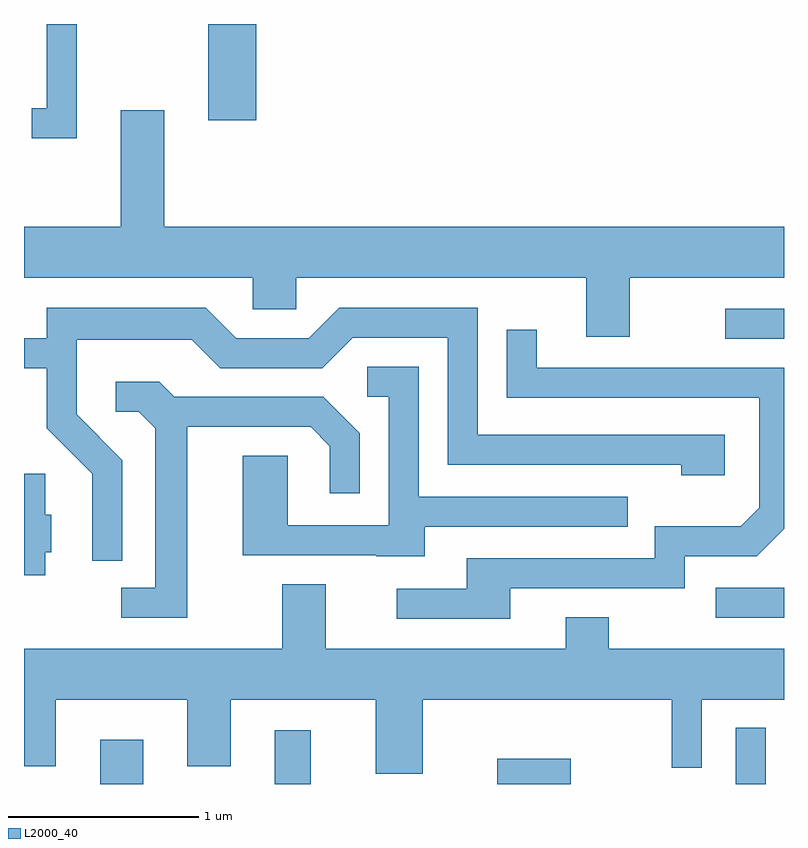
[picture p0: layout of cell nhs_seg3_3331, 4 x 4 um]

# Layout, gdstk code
import gdstk
lib = gdstk.Library(unit=1e-6, precision=1e-09)
def R(c, l, rs):  # rectangles x0, y0, x1, y1
    for r in rs: c.add(gdstk.rectangle(r[:2], r[2:], *l))
def P(c, l, *ps):  # polygons
    for p in ps: c.add(gdstk.Polygon(p, *l))
L2000_40 = (2000, 40)

nhs_seg3_3331 = lib.new_cell('nhs_seg3_3331')
R(nhs_seg3_3331, L2000_40, [(282.011,1249.892,282.239,1250.124), (282.931,1249.892,283.119,1250.174), (284.101,1249.892,284.488,1250.024), (285.356,1249.892,285.514,1250.188), (285.253,1250.766,285.611,1250.924), (285.303,1252.236,285.611,1252.394), (282.581,1253.386,282.834,1253.892)])
P(nhs_seg3_3331, L2000_40, [(281.889,1253.892),(281.731,1253.892),(281.731,1253.449),(281.653,1253.449),(281.653,1253.291),(281.889,1253.291)],
  [(284.799,1252.556),(285.611,1252.556),(285.611,1252.824),(282.349,1252.824),(282.349,1253.439),(282.121,1253.439),(282.121,1252.824),(281.611,1252.824),(281.611,1252.556),(282.816,1252.556),(282.816,1252.391),(283.044,1252.391),(283.044,1252.556),(284.571,1252.556),(284.571,1252.246),(284.799,1252.246)],
  [(282.129,1251.597),(281.889,1251.837),(281.889,1252.231),(282.494,1252.231),(282.644,1252.081),(283.182,1252.081),(283.342,1252.241),(283.841,1252.241),(283.841,1251.571),(285.071,1251.571),(285.071,1251.516),(285.299,1251.516),(285.299,1251.729),(283.999,1251.729),(283.999,1252.399),(283.269,1252.399),(283.109,1252.239),(282.727,1252.239),(282.567,1252.399),(281.731,1252.399),(281.731,1252.239),(281.611,1252.239),(281.611,1252.081),(281.731,1252.081),(281.731,1251.764),(281.971,1251.524),(281.971,1251.068),(282.129,1251.068)],
  [(284.169,1250.921),(285.089,1250.921),(285.089,1251.091),(285.467,1251.091),(285.611,1251.236),(285.611,1252.084),(284.309,1252.084),(284.309,1252.283),(284.151,1252.283),(284.151,1251.926),(285.481,1251.926),(285.481,1251.347),(285.384,1251.249),(284.931,1251.249),(284.931,1251.079),(283.941,1251.079),(283.941,1250.919),(283.573,1250.919),(283.573,1250.761),(284.169,1250.761)],
  [(283.719,1251.246),(284.788,1251.246),(284.788,1251.404),(283.689,1251.404),(283.689,1252.089),(283.418,1252.089),(283.418,1251.931),(283.531,1251.931),(283.531,1251.254),(282.999,1251.254),(282.999,1251.619),(282.761,1251.619),(282.761,1251.096),(283.465,1251.096),(283.465,1251.091),(283.719,1251.091)],
  [(282.469,1251.771),(283.119,1251.771),(283.221,1251.669),(283.221,1251.423),(283.379,1251.423),(283.379,1251.737),(283.187,1251.929),(282.402,1251.929),(282.322,1252.009),(282.093,1252.009),(282.093,1251.851),(282.214,1251.851),(282.301,1251.764),(282.301,1250.924),(282.123,1250.924),(282.123,1250.766),(282.469,1250.766)],
  [(281.724,1251.111),(281.754,1251.111),(281.754,1251.309),(281.724,1251.309),(281.724,1251.524),(281.611,1251.524),(281.611,1250.991),(281.724,1250.991)],
  [(283.709,1250.336),(285.021,1250.336),(285.021,1249.978),(285.179,1249.978),(285.179,1250.336),(285.611,1250.336),(285.611,1250.604),(284.689,1250.604),(284.689,1250.769),(284.461,1250.769),(284.461,1250.604),(283.199,1250.604),(283.199,1250.944),(282.971,1250.944),(282.971,1250.604),(281.611,1250.604),(281.611,1249.986),(281.779,1249.986),(281.779,1250.336),(282.471,1250.336),(282.471,1249.986),(282.699,1249.986),(282.699,1250.336),(283.461,1250.336),(283.461,1249.946),(283.709,1249.946)])

lib.write_gds('nhs_seg3_3331.gds')
